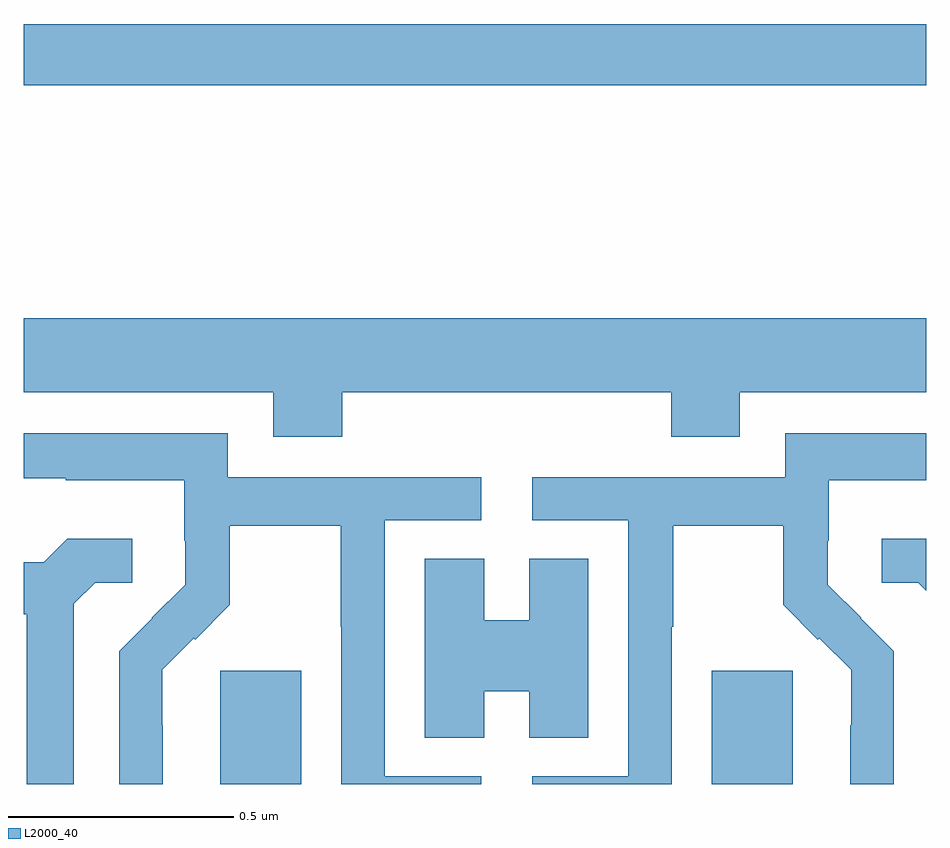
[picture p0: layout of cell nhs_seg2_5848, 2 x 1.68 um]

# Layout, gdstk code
import gdstk
lib = gdstk.Library(unit=1e-6, precision=1e-09)
def R(c, l, rs):  # rectangles x0, y0, x1, y1
    for r in rs: c.add(gdstk.rectangle(r[:2], r[2:], *l))
def P(c, l, *ps):  # polygons
    for p in ps: c.add(gdstk.Polygon(p, *l))
L2000_40 = (2000, 40)

nhs_seg2_5848 = lib.new_cell('nhs_seg2_5848')
R(nhs_seg2_5848, L2000_40, [(184.436,614.8,184.615,615.051), (185.525,614.8,185.704,615.051), (184,616.348,186,616.484)])
P(nhs_seg2_5848, L2000_40, [(184.706,615.668),(185.435,615.668),(185.435,615.569),(185.587,615.569),(185.587,615.668),(186,615.668),(186,615.832),(184,615.832),(184,615.668),(184.553,615.668),(184.553,615.569),(184.706,615.569)],
  [(184.308,614.93),(184.307,614.93),(184.307,615.053),(184.377,615.123),(184.38,615.12),(184.457,615.197),(184.457,615.372),(184.702,615.372),(184.702,615.148),(184.704,615.148),(184.704,614.8),(185.014,614.8),(185.014,614.817),(184.8,614.817),(184.8,615.384),(185.014,615.384),(185.014,615.48),(184.452,615.48),(184.452,615.577),(184,615.577),(184,615.477),(184.093,615.477),(184.093,615.473),(184.356,615.473),(184.356,615.339),(184.358,615.339),(184.358,615.242),(184.284,615.168),(184.285,615.167),(184.212,615.094),(184.212,614.8),(184.308,614.8)],
  [(185.436,615.148),(185.439,615.148),(185.439,615.372),(185.683,615.372),(185.683,615.197),(185.76,615.12),(185.763,615.123),(185.834,615.053),(185.834,614.93),(185.832,614.93),(185.832,614.8),(185.928,614.8),(185.928,615.094),(185.855,615.167),(185.856,615.168),(185.782,615.242),(185.782,615.339),(185.784,615.339),(185.784,615.473),(186,615.473),(186,615.577),(185.688,615.577),(185.688,615.48),(185.127,615.48),(185.127,615.384),(185.34,615.384),(185.34,614.817),(185.127,614.817),(185.127,614.8),(185.436,614.8)],
  [(184.111,615.199),(184.158,615.246),(184.24,615.246),(184.24,615.343),(184.096,615.343),(184.044,615.291),(184,615.291),(184,615.176),(184.007,615.176),(184.007,614.8),(184.111,614.8)],
  [(186,615.343),(185.901,615.343),(185.901,615.246),(185.982,615.246),(186,615.228)],
  [(185.02,615.005),(185.12,615.005),(185.12,614.902),(185.251,614.902),(185.251,615.299),(185.12,615.299),(185.12,615.163),(185.02,615.163),(185.02,615.299),(184.889,615.299),(184.889,614.902),(185.02,614.902)])

lib.write_gds('nhs_seg2_5848.gds')
